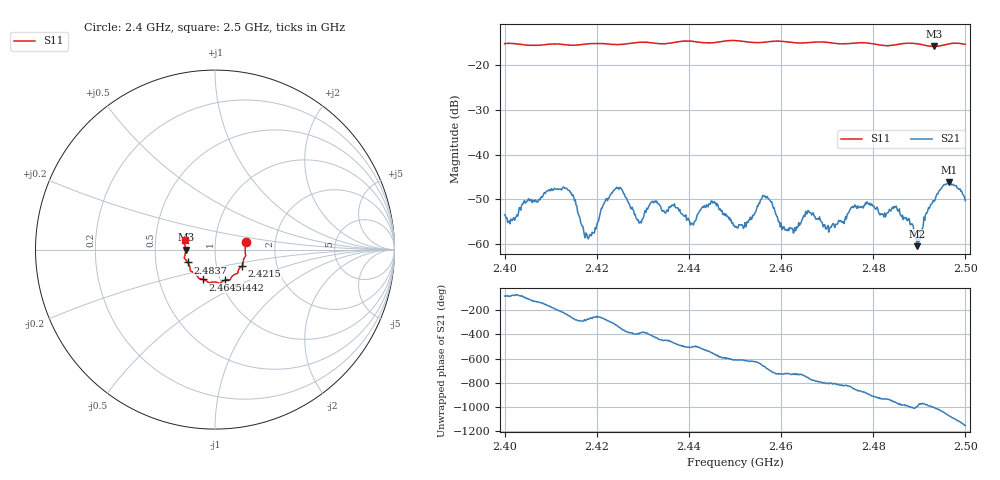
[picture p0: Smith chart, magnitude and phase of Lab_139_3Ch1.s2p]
# Hz S RI R 50
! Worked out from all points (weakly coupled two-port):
!   601 points, 2.4 GHz to 2.5 GHz, reference 50 ohm
!   highest |S21| = -46.12 dB at 2.4965 GHz (marker M1); lowest = -60.5 dB at 2.4895 GHz (marker M2)
!   lowest |S11| = -15.7 dB at 2.4932 GHz (marker M3), VSWR 1.39, Z = 35.9 - j0.0487 ohm
!   |S11| at or under -10 dB: start of sweep to end of sweep
!   S12 and S22 are empty: the file has one direction only
!   S11 on the Smith chart (normalised r, x): 2.4 GHz: 1.41, +0.12; 2.4215 GHz: 1.33, -0.25; 2.4442 GHz: 1.05, -0.37; 2.4645 GHz: 0.83, -0.29; 2.4837 GHz: 0.73, -0.11; 2.5 GHz: 0.71, +0.07
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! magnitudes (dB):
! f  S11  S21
! 2.4 GHz  -15.1  -53.5
! 2.413 GHz  -15.3  -47.5
! 2.4167 GHz  -15.3  -55.6
! 2.4187 GHz  -15.1  -57.9
! 2.4215 GHz  -15.1  -51.1
! 2.4248 GHz  -15.3  -47.7
! 2.4293 GHz  -14.8  -55.2
! 2.4333 GHz  -15.1  -51.0
! 2.4407 GHz  -14.6  -55.4
! 2.4442 GHz  -15.0  -51.7
! 2.45 GHz  -14.4  -56.2
! 2.4565 GHz  -14.8  -49.3
! 2.4607 GHz  -14.6  -56.2
! 2.4645 GHz  -15.0  -54.6
! 2.4667 GHz  -14.8  -53.5
! 2.4702 GHz  -14.8  -55.9
! 2.4833 GHz  -15.6  -52.8
! 2.4837 GHz  -15.5  -52.5
! 2.4895 GHz  -15.1  -60.5
! 2.4932 GHz  -15.7  -50.5
! 2.4965 GHz  -15.1  -46.1
! 2.5 GHz  -15.2  -50.3
